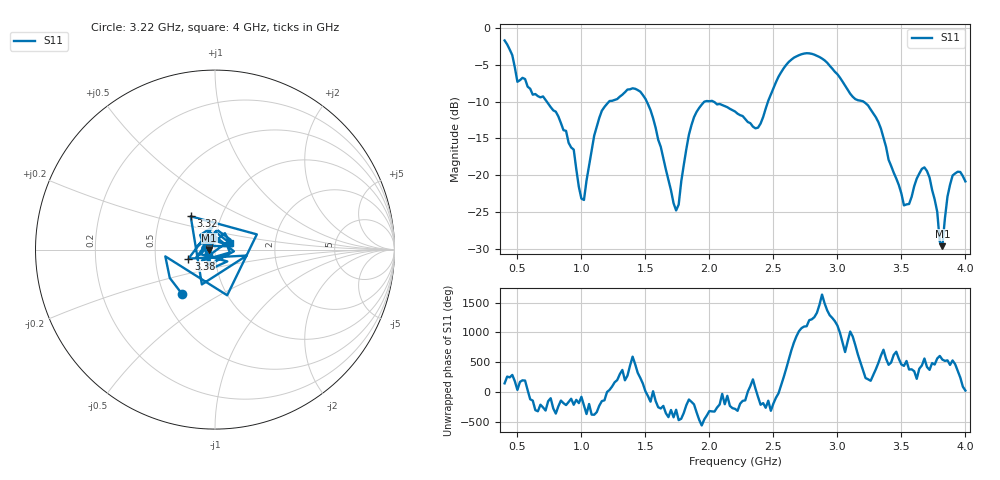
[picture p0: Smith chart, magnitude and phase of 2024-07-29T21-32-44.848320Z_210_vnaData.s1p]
!Created with skrf (http://scikit-rf.org).
# Hz S RI R 50.0
!freq ReS11 ImS11
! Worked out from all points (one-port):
!   181 points, 400 MHz to 4 GHz, reference 50 ohm
!   lowest |S11| = -29.6 dB at 3.82 GHz (marker M1), VSWR 1.07, Z = 46.8 - j0.229 ohm
!   |S11| at or under -10 dB: 729.4 MHz to 1.216 GHz (486.6 MHz wide, 50 % of centre); 1.511 GHz to 1.963 GHz (452.4 MHz wide, 26 % of centre); 3.203 GHz to end of sweep (the widest 3 of 4)
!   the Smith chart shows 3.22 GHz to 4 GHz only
!   S11 on the Smith chart (normalised r, x): 3.22 GHz: 0.62, -0.34; 3.32 GHz: 0.72, +0.28; 3.38 GHz: 0.74, -0.08; 4 GHz: 1.18, +0.09
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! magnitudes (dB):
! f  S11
! 400 MHz  -1.7
! 500 MHz  -7.3
! 860 MHz  -13.9
! 940 MHz  -16.5
! 1.02 GHz  -23.3
! 1.14 GHz  -12.2
! 1.3 GHz  -9.3
! 1.5 GHz  -9.6
! 1.72 GHz  -23.8
! 1.76 GHz  -24.0
! 1.84 GHz  -14.5
! 1.9 GHz  -11.4
! 2.2 GHz  -11.3
! 2.38 GHz  -13.5
! 2.66 GHz  -4.1
! 2.88 GHz  -4.2
! 3.1 GHz  -8.9
! 3.22 GHz  -10.2
! 3.32 GHz  -12.8
! 3.38 GHz  -16.1
! 3.52 GHz  -24.1
! 3.56 GHz  -23.9
! 3.68 GHz  -18.9
! 3.76 GHz  -23.3
! 3.82 GHz  -29.6
! 3.86 GHz  -22.9
! 3.9 GHz  -20.0
! 4 GHz  -20.8
